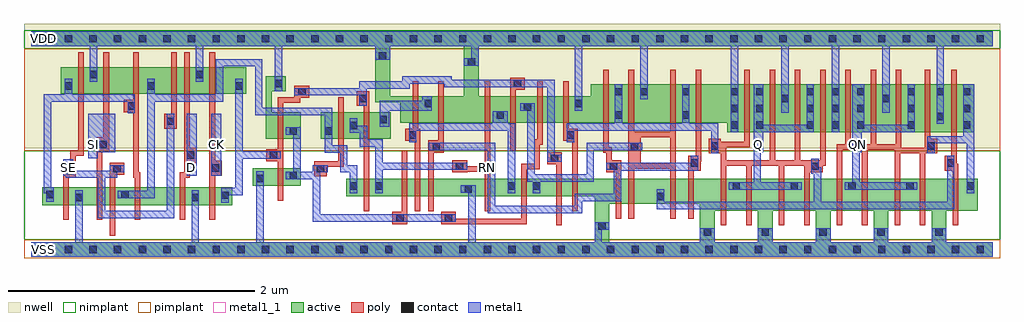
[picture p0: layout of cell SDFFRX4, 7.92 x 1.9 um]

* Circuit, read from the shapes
.subckt SDFFRX4 CK D Q QN RN SE SI VDD VSS
M1 VSS SE n1 VSS nfet w=0.145u l=0.045u
M2 n2 SI VSS VSS nfet w=0.145u l=0.045u
M3 n3 SE n2 VSS nfet w=0.145u l=0.045u
M4 n4 n1 n3 VSS nfet w=0.145u l=0.045u
M5 VSS D n4 VSS nfet w=0.145u l=0.045u
M6 n5 CK VSS VSS nfet w=0.145u l=0.045u
M7 n6 n5 VSS VSS nfet w=0.145u l=0.045u
M8 n7 n5 n3 VSS nfet w=0.145u l=0.045u
M9 n8 n6 n7 VSS nfet w=0.145u l=0.045u
M10 n9 n10 n8 VSS nfet w=0.145u l=0.045u
M11 VSS RN n9 VSS nfet w=0.145u l=0.045u
M12 n10 n7 VSS VSS nfet w=0.145u l=0.045u
M13 n11 n6 n10 VSS nfet w=0.145u l=0.045u
M14 n12 n5 n11 VSS nfet w=0.145u l=0.045u
M15 VSS n13 n12 VSS nfet w=0.145u l=0.045u
M16 n14 RN VSS VSS nfet w=0.205u l=0.045u
M17 n13 n11 n14 VSS nfet w=0.205u l=0.045u
M18 n15 n11 n13 VSS nfet w=0.205u l=0.045u
M19 VSS RN n15 VSS nfet w=0.205u l=0.045u
M20 Q n13 VSS VSS nfet w=0.26u l=0.045u m=4
M21 QN n16 VSS VSS nfet w=0.26u l=0.045u m=4
M22 n16 n13 VSS VSS nfet w=0.26u l=0.045u
M23 VDD SE n1 VDD pfet w=0.215u l=0.045u
M24 n17 SI VDD VDD pfet w=0.215u l=0.045u
M25 n3 n1 n17 VDD pfet w=0.215u l=0.045u
M26 n18 SE n3 VDD pfet w=0.215u l=0.045u
M27 VDD D n18 VDD pfet w=0.215u l=0.045u
M28 n5 CK VDD VDD pfet w=0.215u l=0.045u
M29 n6 n5 VDD VDD pfet w=0.215u l=0.045u
M30 n7 n6 n3 VDD pfet w=0.215u l=0.045u
M31 n19 n5 n7 VDD pfet w=0.215u l=0.045u
M32 n19 n10 VDD VDD pfet w=0.215u l=0.045u
M33 VDD RN n19 VDD pfet w=0.215u l=0.045u
M34 n10 n7 VDD VDD pfet w=0.215u l=0.045u
M35 n11 n5 n10 VDD pfet w=0.215u l=0.045u
M36 n20 n6 n11 VDD pfet w=0.215u l=0.045u
M37 VDD n13 n20 VDD pfet w=0.215u l=0.045u
M38 n13 RN VDD VDD pfet w=0.31u l=0.045u m=2
M39 VDD n11 n13 VDD pfet w=0.31u l=0.045u m=2
M40 Q n13 VDD VDD pfet w=0.39u l=0.045u m=4
M41 QN n16 VDD VDD pfet w=0.39u l=0.045u m=4
M42 n16 n13 VDD VDD pfet w=0.39u l=0.045u
.ends

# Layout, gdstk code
import gdstk
lib = gdstk.Library(unit=1e-6, precision=5e-10)
def R(c, l, rs):  # rectangles x0, y0, x1, y1
    for r in rs: c.add(gdstk.rectangle(r[:2], r[2:], *l))
def A(c, l, x, y, w, h, nx, ny, dx, dy):  # array of equal rectangles
    R(c, l, [(x+i*dx, y+j*dy, x+i*dx+w, y+j*dy+h) for i in range(nx) for j in range(ny)])
def P(c, l, *ps):  # polygons
    for p in ps: c.add(gdstk.Polygon(p, *l))
active = (1, 0)
nwell = (2, 0)
poly = (3, 0)
nimplant = (4, 0)
pimplant = (5, 0)
contact = (6, 0)
metal1 = (7, 0)
metal1_1 = (7, 1)

sdffrx4 = lib.new_cell('SDFFRX4')
R(sdffrx4, active, [(0.09,0.36,1.63,0.505), (1.795,0.515,2.185,0.66), (2.35,0.9,2.915,1.115), (0.24,1.265,1.745,1.48)])
P(sdffrx4, active, [(0,1.77),(7.8,1.77),(7.8,1.65),(3.63,1.65),(3.63,1.245),(4.54,1.245),(4.54,1.34),(7.65,1.34),(7.65,0.95),(5.645,0.95),(5.645,1.03),(2.995,1.03),(2.995,1.195),(2.79,1.195),(2.79,1.65),(2.91,1.65),(2.91,1.245),(3.51,1.245),(3.51,1.65),(0,1.65)],
  [(1.9,1.405),(2.065,1.405),(2.065,1.285),(1.95,1.285),(1.95,1.115),(2.185,1.115),(2.185,0.9),(1.9,0.9)],
  [(2.555,0.575),(7.68,0.575),(7.68,0.315),(7.425,0.315),(7.425,0.06),(7.8,0.06),(7.8,-0.06),(0,-0.06),(0,0.06),(4.57,0.06),(4.57,0.37),(4.69,0.37),(4.69,0.06),(5.425,0.06),(5.425,0.315),(5.545,0.315),(5.545,0.06),(5.895,0.06),(5.895,0.315),(6.015,0.315),(6.015,0.06),(6.365,0.06),(6.365,0.315),(6.485,0.315),(6.485,0.06),(6.835,0.06),(6.835,0.315),(6.955,0.315),(6.955,0.06),(7.305,0.06),(7.305,0.315),(5.425,0.315),(5.425,0.37),(4.57,0.37),(4.57,0.43),(2.555,0.43)])
R(sdffrx4, nwell, [(-0.06,0.82,7.86,1.83)])
P(sdffrx4, poly, [(0.38,1.6),(0.425,1.6),(0.425,0.76),(0.36,0.76),(0.36,0.58),(0.305,0.58),(0.305,0.24),(0.26,0.24),(0.26,0.7),(0.315,0.7),(0.315,0.805),(0.38,0.805)],
  [(0.585,1.6),(0.63,1.6),(0.63,0.79),(0.575,0.79),(0.575,0.24),(0.53,0.24),(0.53,0.91),(0.585,0.91)],
  [(0.825,1.6),(0.87,1.6),(0.87,0.625),(0.885,0.625),(0.885,0.24),(0.84,0.24),(0.84,0.58),(0.825,0.58),(0.825,1.115),(0.75,1.115),(0.75,1.215),(0.825,1.215)],
  [(1.135,1.6),(1.18,1.6),(1.18,0.98),(1.08,0.98),(1.08,1.1),(1.135,1.1)],
  [(1.24,1.6),(1.285,1.6),(1.285,0.825),(1.34,0.825),(1.34,0.705),(1.285,0.705),(1.285,0.58),(1.25,0.58),(1.25,0.24),(1.205,0.24),(1.205,0.625),(1.24,0.625)],
  [(1.445,1.6),(1.49,1.6),(1.49,0.72),(1.545,0.72),(1.545,0.6),(1.49,0.6),(1.49,0.24),(1.445,0.24)],
  [(2.135,1.33),(2.255,1.33),(2.255,1.23),(2.18,1.23),(2.18,1.19),(2.045,1.19),(2.045,0.395),(2,0.395),(2,0.715),(1.905,0.715),(1.905,0.815),(2,0.815),(2,1.235),(2.135,1.235)],
  [(2.64,1.285),(2.74,1.285),(2.74,0.31),(2.695,0.31),(2.695,1.165),(2.64,1.165)],
  [(2.49,1.235),(2.535,1.235),(2.535,0.67),(2.395,0.67),(2.395,0.595),(2.295,0.595),(2.295,0.715),(2.49,0.715)],
  [(3.885,1.395),(4.005,1.395),(4.005,1.295),(3.93,1.295),(3.93,0.8),(3.885,0.8)],
  [(3.095,1.365),(3.14,1.365),(3.14,0.98),(3.155,0.98),(3.155,0.31),(3.11,0.31),(3.11,0.88),(3.035,0.88),(3.035,0.98),(3.095,0.98)],
  [(3.3,1.365),(3.345,1.365),(3.345,0.785),(3.265,0.785),(3.265,0.31),(3.22,0.31),(3.22,0.885),(3.3,0.885)],
  [(3.415,0.725),(3.535,0.725),(3.535,0.675),(3.68,0.675),(3.68,1.365),(3.725,1.365),(3.725,0.31),(3.68,0.31),(3.68,0.63),(3.535,0.63),(3.535,0.625),(3.415,0.625)],
  [(4.105,1.365),(4.15,1.365),(4.15,0.85),(4.125,0.85),(4.125,0.65),(4.02,0.65),(4.02,0.205),(3.325,0.205),(3.325,0.305),(3.445,0.305),(3.445,0.25),(3.975,0.25),(3.975,0.695),(4.08,0.695),(4.08,0.895),(4.105,0.895)],
  [(4.315,1.365),(4.36,1.365),(4.36,0.98),(4.435,0.98),(4.435,0.31),(4.39,0.31),(4.39,0.88),(4.315,0.88)],
  [(4.64,1.46),(4.685,1.46),(4.685,0.83),(4.71,0.83),(4.71,0.725),(4.785,0.725),(4.785,0.25),(4.74,0.25),(4.74,0.625),(4.665,0.625),(4.665,0.785),(4.64,0.785)],
  [(4.845,1.46),(4.89,1.46),(4.89,0.955),(5.185,0.955),(5.185,1.46),(5.23,1.46),(5.23,0.25),(5.185,0.25),(5.185,0.655),(4.89,0.655),(4.89,0.25),(4.845,0.25),(4.845,0.91),(4.945,0.91),(4.945,0.7),(5.185,0.7),(5.185,0.91),(4.845,0.91)],
  [(5.39,1.46),(5.435,1.46),(5.435,0.715),(5.43,0.715),(5.43,0.64),(5.375,0.64),(5.375,0.25),(5.33,0.25),(5.33,0.76),(5.39,0.76)],
  [(5.495,0.9),(5.595,0.9),(5.595,0.875),(5.785,0.875),(5.785,1.46),(5.83,1.46),(5.83,0.83),(5.64,0.83),(5.64,0.725),(5.99,0.725),(5.99,1.46),(6.035,1.46),(6.035,0.725),(6.195,0.725),(6.195,1.46),(6.24,1.46),(6.24,0.725),(6.4,0.725),(6.4,1.46),(6.445,1.46),(6.445,0.68),(6.42,0.68),(6.42,0.625),(6.315,0.625),(6.315,0.195),(6.27,0.195),(6.27,0.68),(6.11,0.68),(6.11,0.195),(6.065,0.195),(6.065,0.68),(5.845,0.68),(5.845,0.195),(5.8,0.195),(5.8,0.68),(5.64,0.68),(5.64,0.195),(5.595,0.195),(5.595,0.78),(5.495,0.78)],
  [(6.605,1.46),(6.65,1.46),(6.65,0.855),(6.81,0.855),(6.81,1.46),(6.855,1.46),(6.855,0.855),(7.015,0.855),(7.015,1.46),(7.06,1.46),(7.06,0.825),(7.25,0.825),(7.25,1.46),(7.295,1.46),(7.295,0.9),(7.35,0.9),(7.35,0.78),(7.255,0.78),(7.255,0.195),(7.21,0.195),(7.21,0.78),(7.05,0.78),(7.05,0.195),(7.005,0.195),(7.005,0.81),(6.785,0.81),(6.785,0.195),(6.74,0.195),(6.74,0.81),(6.58,0.81),(6.58,0.195),(6.535,0.195),(6.535,0.855),(6.605,0.855)],
  [(7.465,1.46),(7.51,1.46),(7.51,0.695),(7.52,0.695),(7.52,0.195),(7.475,0.195),(7.475,0.64),(7.41,0.64),(7.41,0.76),(7.465,0.76)],
  [(4.185,0.79),(4.305,0.79),(4.305,0.195),(4.26,0.195),(4.26,0.69),(4.185,0.69)],
  [(0.635,0.705),(0.755,0.705),(0.755,0.605),(0.68,0.605),(0.68,0.11),(0.635,0.11)],
  [(3.005,0.8),(3.05,0.8),(3.05,0.205),(2.93,0.205),(2.93,0.305),(3.005,0.305)])
R(sdffrx4, nimplant, [(-0.06,0.08,7.86,0.8), (-0.06,1.63,7.86,1.78)])
R(sdffrx4, pimplant, [(-0.06,-0.07,7.86,0.08), (-0.06,0.8,7.86,1.63)])
A(sdffrx4, contact, 0.07, -0.03, 0.06, 0.06, 39, 2, 0.2, 1.71)
A(sdffrx4, contact, 5.455, 0.11, 0.06, 0.06, 5, 1, 0.47, 0)
A(sdffrx4, contact, 5.69, 0.485, 0.06, 0.06, 4, 1, 0.47, 0)
A(sdffrx4, contact, 5.675, 0.98, 0.06, 0.06, 1, 3, 0, 0.135)
A(sdffrx4, contact, 5.88, 0.98, 0.06, 0.06, 1, 3, 0, 0.135)
A(sdffrx4, contact, 6.29, 0.98, 0.06, 0.06, 3, 3, 0.205, 0.135)
A(sdffrx4, contact, 7.11, 0.98, 0.06, 0.06, 1, 3, 0, 0.135)
A(sdffrx4, contact, 7.56, 0.98, 0.06, 0.06, 1, 3, 0, 0.135)
R(sdffrx4, contact, [(4.6,0.16,4.66,0.22), (2.96,0.225,3.02,0.285), (3.355,0.225,3.415,0.285), (0.355,0.39,0.415,0.45), (1.3,0.39,1.36,0.45), (5.075,0.4,5.135,0.46), (1.54,0.41,1.6,0.47), (0.12,0.415,0.18,0.475), (0.73,0.415,0.79,0.475), (3.515,0.46,3.575,0.52), (2.585,0.485,2.645,0.545), (2.79,0.485,2.85,0.545), (3.865,0.485,3.925,0.545), (4.07,0.485,4.13,0.545), (7.59,0.485,7.65,0.545), (1.825,0.545,1.885,0.605), (2.095,0.57,2.155,0.63), (0.28,0.61,0.34,0.67), (0.665,0.625,0.725,0.685), (2.315,0.625,2.375,0.685), (1.465,0.63,1.525,0.69), (3.445,0.645,3.505,0.705), (4.695,0.645,4.755,0.705), (6.33,0.645,6.39,0.705), (5.35,0.67,5.41,0.73), (7.43,0.67,7.49,0.73), (4.215,0.71,4.275,0.77), (1.26,0.735,1.32,0.795), (1.935,0.735,1.995,0.795), (3.255,0.805,3.315,0.865), (4.865,0.805,4.925,0.865), (5.515,0.81,5.575,0.87), (7.27,0.81,7.33,0.87), (0.55,0.82,0.61,0.88), (3.065,0.9,3.125,0.96), (4.345,0.9,4.405,0.96), (2.095,0.93,2.155,0.99), (2.38,0.93,2.44,0.99), (2.585,0.975,2.645,1.035), (1.1,1.01,1.16,1.07), (2.825,1.025,2.885,1.085), (7.345,1.05,7.405,1.11), (3.775,1.06,3.835,1.12), (4.735,1.06,4.795,1.12), (5.28,1.06,5.34,1.12), (3.995,1.125,4.055,1.185), (0.78,1.135,0.84,1.195), (3.19,1.155,3.25,1.215), (4.41,1.155,4.47,1.215), (2.66,1.195,2.72,1.255), (6.085,1.195,6.145,1.255), (6.905,1.195,6.965,1.255), (2.165,1.25,2.225,1.31), (4.735,1.25,4.795,1.31), (4.94,1.25,5,1.31), (5.28,1.25,5.34,1.31), (7.345,1.25,7.405,1.31), (0.27,1.295,0.33,1.355), (0.94,1.295,1,1.355), (1.655,1.295,1.715,1.355), (1.975,1.315,2.035,1.375), (3.915,1.315,3.975,1.375), (0.475,1.39,0.535,1.45), (1.335,1.39,1.395,1.45), (3.54,1.49,3.6,1.55), (2.82,1.54,2.88,1.6)])
R(sdffrx4, metal1, [(1.26,0.6,1.34,1.1), (1.46,0.6,1.54,1.1)])
P(sdffrx4, metal1, [(0,1.77),(7.8,1.77),(7.8,1.65),(7.405,1.65),(7.405,1.02),(7.345,1.02),(7.345,1.65),(6.965,1.65),(6.965,1.11),(6.905,1.11),(6.905,1.65),(6.555,1.65),(6.555,0.95),(6.495,0.95),(6.495,1.65),(6.145,1.65),(6.145,1.11),(6.085,1.11),(6.085,1.65),(5.735,1.65),(5.735,0.95),(5.675,0.95),(5.675,1.65),(5,1.65),(5,1.22),(4.94,1.22),(4.94,1.65),(4.47,1.65),(4.47,1.125),(4.41,1.125),(4.41,1.65),(3.63,1.65),(3.63,1.49),(3.51,1.49),(3.51,1.55),(3.57,1.55),(3.57,1.65),(2.91,1.65),(2.91,1.54),(2.79,1.54),(2.79,1.65),(2.035,1.65),(2.035,1.285),(1.975,1.285),(1.975,1.65),(1.395,1.65),(1.395,1.36),(1.335,1.36),(1.335,1.65),(0.535,1.65),(0.535,1.36),(0.475,1.36),(0.475,1.65),(0,1.65)],
  [(0.27,1.385),(0.33,1.385),(0.33,1.26),(0.84,1.26),(0.84,1.105),(0.78,1.105),(0.78,1.2),(0.16,1.2),(0.16,0.505),(0.18,0.505),(0.18,0.385),(0.12,0.385),(0.12,0.455),(0.1,0.455),(0.1,1.26),(0.27,1.26)],
  [(1.495,1.545),(1.875,1.545),(1.875,1.15),(2.44,1.15),(2.44,0.845),(2.565,0.845),(2.565,0.685),(2.645,0.685),(2.645,0.455),(2.585,0.455),(2.585,0.625),(2.505,0.625),(2.505,0.785),(2.38,0.785),(2.38,1.09),(1.815,1.09),(1.815,1.485),(1.555,1.485),(1.555,1.2),(1,1.2),(1,0.415),(0.7,0.415),(0.7,0.475),(0.94,0.475),(0.94,1.385),(1,1.385),(1,1.26),(1.495,1.26)],
  [(0.26,0.73),(0.34,0.73),(0.34,0.64),(0.635,0.64),(0.635,0.685),(0.755,0.685),(0.755,0.625),(0.695,0.625),(0.695,0.58),(0.6,0.58),(0.6,0.315),(1.1,0.315),(1.1,1.1),(1.16,1.1),(1.16,0.255),(0.54,0.255),(0.54,0.58),(0.28,0.58),(0.28,0.6),(0.26,0.6)],
  [(0.46,1.1),(0.68,1.1),(0.68,0.79),(0.54,0.79),(0.54,0.74),(0.46,0.74)],
  [(0.355,0.48),(0.415,0.48),(0.415,0.06),(1.3,0.06),(1.3,0.48),(1.36,0.48),(1.36,0.06),(1.825,0.06),(1.825,0.635),(1.885,0.635),(1.885,0.06),(3.545,0.06),(3.545,0.46),(3.485,0.46),(3.485,0.52),(3.605,0.52),(3.605,0.06),(4.57,0.06),(4.57,0.22),(4.69,0.22),(4.69,0.16),(4.63,0.16),(4.63,0.06),(5.425,0.06),(5.425,0.17),(5.545,0.17),(5.545,0.06),(5.895,0.06),(5.895,0.17),(6.015,0.17),(6.015,0.06),(6.365,0.06),(6.365,0.17),(6.485,0.17),(6.485,0.06),(6.835,0.06),(6.835,0.17),(6.955,0.17),(6.955,0.06),(7.305,0.06),(7.305,0.17),(7.425,0.17),(7.425,0.06),(7.8,0.06),(7.8,-0.06),(0,-0.06),(0,0.06),(0.355,0.06)],
  [(1.655,1.385),(1.715,1.385),(1.715,0.795),(2.025,0.795),(2.025,0.735),(1.715,0.735),(1.715,0.44),(1.6,0.44),(1.6,0.38),(1.54,0.38),(1.54,0.5),(1.655,0.5)],
  [(3.01,1.405),(3.41,1.405),(3.41,1.375),(4.245,1.375),(4.245,0.77),(4.305,0.77),(4.305,0.71),(4.185,0.71),(4.185,1.315),(3.35,1.315),(3.35,1.345),(3.07,1.345),(3.07,1.305),(2.72,1.305),(2.72,1.165),(2.66,1.165),(2.66,1.25),(2.135,1.25),(2.135,1.31),(2.66,1.31),(2.66,1.365),(3.01,1.365)],
  [(3.17,1.245),(3.25,1.245),(3.25,1.125),(2.905,1.125),(2.905,0.995),(2.825,0.995),(2.825,1.205),(3.17,1.205)],
  [(3.965,1.185),(4.085,1.185),(4.085,0.61),(4.505,0.61),(4.505,0.865),(4.955,0.865),(4.955,0.805),(4.565,0.805),(4.565,0.55),(4.13,0.55),(4.13,0.455),(4.07,0.455),(4.07,0.55),(4.025,0.55),(4.025,1.125),(3.965,1.125)],
  [(2.065,0.99),(2.185,0.99),(2.185,0.63),(2.285,0.63),(2.285,0.685),(2.405,0.685),(2.405,0.625),(2.345,0.625),(2.345,0.285),(3.445,0.285),(3.445,0.225),(2.285,0.225),(2.285,0.57),(2.065,0.57),(2.065,0.63),(2.125,0.63),(2.125,0.93),(2.065,0.93)],
  [(2.585,1.065),(2.645,1.065),(2.645,1.005),(2.725,1.005),(2.725,0.895),(2.85,0.895),(2.85,0.705),(3.535,0.705),(3.535,0.645),(2.85,0.645),(2.85,0.455),(2.79,0.455),(2.79,0.835),(2.665,0.835),(2.665,0.945),(2.585,0.945)],
  [(3.745,1.12),(3.865,1.12),(3.865,1.025),(3.925,1.025),(3.925,0.455),(3.865,0.455),(3.865,0.965),(3.125,0.965),(3.125,0.87),(3.065,0.87),(3.065,1.025),(3.745,1.025)],
  [(3.225,0.865),(3.765,0.865),(3.765,0.355),(4.41,0.355),(4.41,0.45),(4.725,0.45),(4.725,0.645),(4.665,0.645),(4.665,0.705),(5.35,0.705),(5.35,0.76),(5.41,0.76),(5.41,0.64),(4.785,0.64),(4.785,0.39),(4.47,0.39),(4.47,0.295),(3.705,0.295),(3.705,0.625),(3.635,0.625),(3.635,0.705),(3.705,0.705),(3.705,0.805),(3.225,0.805)],
  [(4.735,1.34),(4.795,1.34),(4.795,1.025),(5.28,1.025),(5.28,1.34),(5.34,1.34),(5.34,1.025),(5.575,1.025),(5.575,0.78),(5.515,0.78),(5.515,0.965),(4.405,0.965),(4.405,0.87),(4.345,0.87),(4.345,1.025),(4.735,1.025)],
  [(5.86,1.34),(5.94,1.34),(5.94,1.01),(6.29,1.01),(6.29,1.34),(6.35,1.34),(6.35,0.95),(5.94,0.95),(5.94,0.79),(5.92,0.79),(5.92,0.545),(6.25,0.545),(6.25,0.485),(5.66,0.485),(5.66,0.545),(5.86,0.545)],
  [(6.66,1.34),(6.76,1.34),(6.76,1.01),(7.11,1.01),(7.11,1.34),(7.17,1.34),(7.17,0.95),(6.74,0.95),(6.74,0.79),(6.72,0.79),(6.72,0.545),(7.19,0.545),(7.19,0.485),(6.6,0.485),(6.6,0.545),(6.66,0.545)],
  [(7.56,1.34),(7.65,1.34),(7.65,0.455),(7.59,0.455),(7.59,0.86),(7.33,0.86),(7.33,0.78),(7.27,0.78),(7.27,0.92),(7.56,0.92)],
  [(6.33,0.735),(6.39,0.735),(6.39,0.665),(6.41,0.665),(6.41,0.385),(7.43,0.385),(7.43,0.76),(7.49,0.76),(7.49,0.325),(5.075,0.325),(5.075,0.49),(5.135,0.49),(5.135,0.385),(6.35,0.385),(6.35,0.615),(6.33,0.615)])
R(sdffrx4, metal1_1, [(0.06,-0.04,0.14,0.04), (0.26,0.625,0.34,0.705), (1.26,0.625,1.34,0.705), (3.66,0.625,3.74,0.705), (0.46,0.815,0.54,0.895), (1.46,0.815,1.54,0.895), (5.86,0.815,5.94,0.895), (6.66,0.815,6.74,0.895), (0.06,1.67,0.14,1.75)])
sdffrx4.add(gdstk.Label('QN', (6.7,0.855), layer=7, texttype=1))
sdffrx4.add(gdstk.Label('Q', (5.9,0.855), layer=7, texttype=1))
sdffrx4.add(gdstk.Label('RN', (3.7,0.665), layer=7, texttype=1))
sdffrx4.add(gdstk.Label('CK', (1.5,0.855), layer=7, texttype=1))
sdffrx4.add(gdstk.Label('D', (1.3,0.665), layer=7, texttype=1))
sdffrx4.add(gdstk.Label('SI', (0.5,0.855), layer=7, texttype=1))
sdffrx4.add(gdstk.Label('SE', (0.3,0.665), layer=7, texttype=1))
sdffrx4.add(gdstk.Label('VDD', (0.1,1.71), layer=7, texttype=1))
sdffrx4.add(gdstk.Label('VSS', (0.1,0), layer=7, texttype=1))
sdffrx4.add(gdstk.Label('SDFFRX4', (0,0), layer=63, texttype=0))

lib.write_gds('SDFFRX4.gds')
